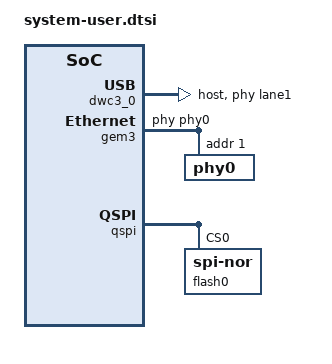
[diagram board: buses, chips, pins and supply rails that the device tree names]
/include/ "system-conf.dtsi"

/ {
    aliases {
        serial0 = &uart1;
        serial1 = &uart0;
    };

    chosen {
        bootargs= "console=ttyPS0,115200 root=/dev/mmcblk0p2 earlycon clk_ignore_unused earlyprintk rootfstype=ext4 rw rootwait cma=1024M";
        stdout-path = "serial0:115200n8";

  };
};

/* notes:
serdes: // PHY TYP see: dt-bindings/phy/phy.h
*/

/* default */

/* SD */

&sdhci0 {
	disable-wp;
	no-1-8-v;

};



/* USB  */


&dwc3_0 {
    status = "okay";
    dr_mode = "host";
    snps,usb3_lpm_capable;
    snps,dis_u3_susphy_quirk;
    snps,dis_u2_susphy_quirk;
    phy-names = "usb2-phy","usb3-phy";
    phys = <&lane1 4 0 2 100000000>;
    maximum-speed = "super-speed";
};

/* ETH PHY */

&gem3 {
	phy-handle = <&phy0>;
	phy0: phy0@1 {
		device_type = "ethernet-phy";
		reg = <1>;
	};
};

/* QSPI */

&qspi {
    #address-cells = <1>;
    #size-cells = <0>;
    status = "okay";
    flash0: flash@0 {
        compatible = "jedec,spi-nor";
        reg = <0x0>;
        #address-cells = <1>;
        #size-cells = <1>;
    };
};

/* I2C */

&i2c0 {
    i2c@4 { //Module PLL Si5338 or SI5345
        #address-cells = <1>;
        #size-cells = <0>;
        reg = <4>;
    };
};


